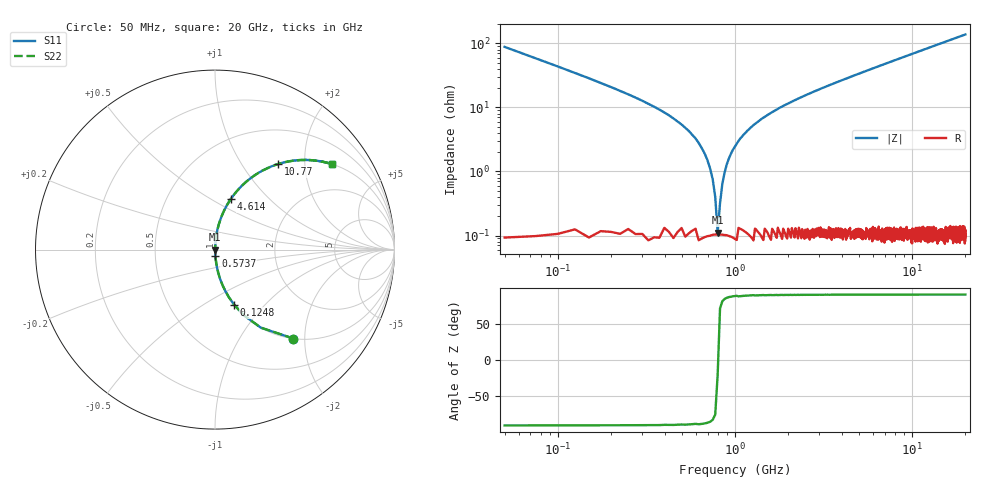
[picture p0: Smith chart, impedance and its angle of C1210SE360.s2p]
! AVX Thin Film Operation		Date: April 2012
! Description: Accu-P® Series, Thin Film, SMD, RF Capacitor
! Part Number: 12101J360FBTTR
!	100	MHz	-	20.05	GHz
!	Serial	Measurements
#	MHZ	S	MA	R	50
!	S11	S21	S12	S22
!	dB	Phase	dB	Phase	dB	Phase	dB	Phase
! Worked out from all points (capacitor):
!   801 points, 50 MHz to 20 GHz, reference 50 ohm
!   read as one part in series: C = 36 pF near 149.8 MHz
!   lowest |Z| = 111 mohm at 798.1 MHz (marker M1)
!   series resonance near 801 MHz, so ESL is about 1.1 nH
!   S11 on the Smith chart (normalised r, x): 50 MHz: 1.00, -1.76; 124.8 MHz: 1.00, -0.69; 573.7 MHz: 1.00, -0.07; 4.614 GHz: 1.00, +0.62; 10.77 GHz: 1.00, +1.48; 20 GHz: 1.00, +2.75
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50  0.661 -48.6  0.75 41.3  0.75 41.3  0.661 -48.6
124.813  0.326 -70.8  0.944 19.0  0.944 19.0  0.326 -70.8
174.688  0.234 -76.2  0.971 13.5  0.971 13.5  0.234 -76.2
249.5  0.158 -80.5  0.986 9.1  0.986 9.1  0.158 -80.5
573.688  0.037 -86.2  0.998 2.1  0.998 2.1  0.037 -86.2
648.5  0.023 -86.0  0.999 1.3  0.999 1.3  0.023 -86.0
723.313  0.011 -83.9  0.999 0.6  0.999 0.6  0.011 -83.9
798.125  0.001148 -19.9  0.999 0.0  0.999 0.0  0.001148 -19.9
872.938  0.00956 83.0  0.999 -0.5  0.999 -0.5  0.00956 83.0
947.75  0.019 85.6  0.999 -1.1  0.999 -1.1  0.019 85.6
1047.5  0.03 86.2  0.998 -1.7  0.998 -1.7  0.03 86.2
1222.063  0.048 86.0  0.998 -2.7  0.998 -2.7  0.048 86.0
1446.5  0.069 85.2  0.997 -4.0  0.997 -4.0  0.069 85.2
2194.625  0.13 82.1  0.99 -7.5  0.99 -7.5  0.13 82.1
3391.625  0.215 77.3  0.975 -12.4  0.975 -12.4  0.215 77.3
4613.563  0.294 72.7  0.955 -17.1  0.955 -17.1  0.294 72.7
6708.313  0.414 65.4  0.909 -24.5  0.909 -24.5  0.414 65.4
10025  0.566 55.5  0.824 -34.4  0.824 -34.4  0.566 55.5
10773.12  0.594 53.5  0.804 -36.4  0.804 -36.4  0.594 53.5
13366.62  0.676 47.4  0.736 -42.5  0.736 -42.5  0.676 47.4
16683.31  0.753 41.1  0.657 -48.9  0.657 -48.9  0.753 41.1
20000  0.809 36.0  0.588 -54.0  0.588 -54.0  0.809 36.0
